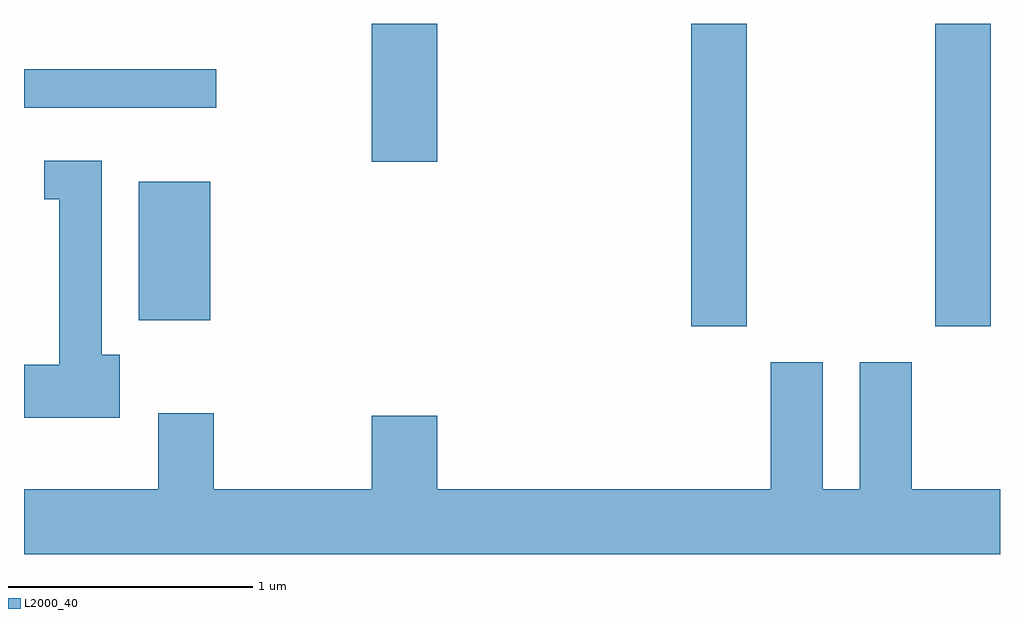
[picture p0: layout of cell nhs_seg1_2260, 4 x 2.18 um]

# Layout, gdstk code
import gdstk
lib = gdstk.Library(unit=1e-6, precision=1e-09)
def R(c, l, rs):  # rectangles x0, y0, x1, y1
    for r in rs: c.add(gdstk.rectangle(r[:2], r[2:], *l))
def P(c, l, *ps):  # polygons
    for p in ps: c.add(gdstk.Polygon(p, *l))
L2000_40 = (2000, 40)

nhs_seg1_2260 = lib.new_cell('nhs_seg1_2260')
R(nhs_seg1_2260, L2000_40, [(256.346,940.471,256.574,941.712), (257.346,940.471,257.574,941.712), (254.081,940.496,254.374,941.064), (255.036,941.146,255.304,941.712), (253.611,941.366,254.398,941.524)])
P(nhs_seg1_2260, L2000_40, [(254.004,940.354),(253.929,940.354),(253.929,941.149),(253.693,941.149),(253.693,940.991),(253.756,940.991),(253.756,940.314),(253.611,940.314),(253.611,940.096),(254.004,940.096)],
  [(257.611,939.804),(257.249,939.804),(257.249,940.324),(257.036,940.324),(257.036,939.804),(256.884,939.804),(256.884,940.324),(256.671,940.324),(256.671,939.804),(255.304,939.804),(255.304,940.104),(255.036,940.104),(255.036,939.804),(254.389,939.804),(254.389,940.114),(254.161,940.114),(254.161,939.804),(253.611,939.804),(253.611,939.536),(257.611,939.536)])

lib.write_gds('nhs_seg1_2260.gds')
